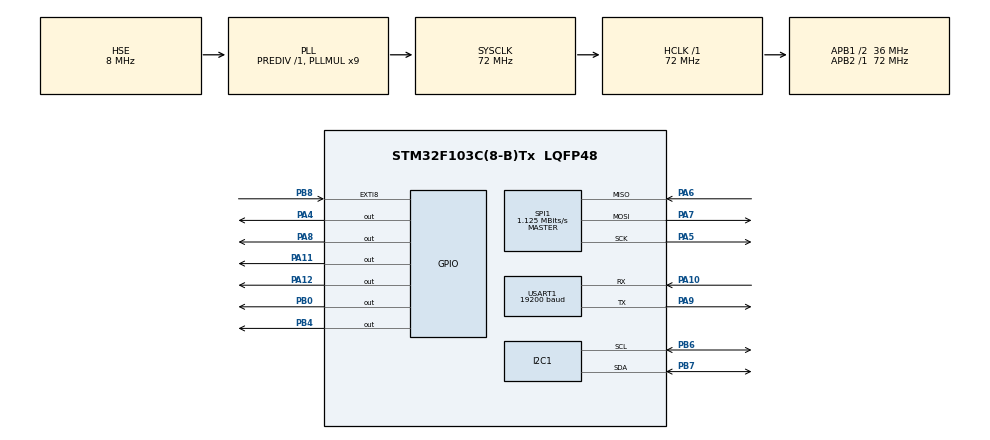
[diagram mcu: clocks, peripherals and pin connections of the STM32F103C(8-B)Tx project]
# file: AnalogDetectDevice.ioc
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I2C1.DualAddressMode=I2C_DUALADDRESS_DISABLE
I2C1.I2C_Mode=I2C_Fast
I2C1.OwnAddress=1
Mcu.Family=STM32F1
Mcu.Name=STM32F103C(8-B)Tx
Mcu.Package=LQFP48
NVIC.EXTI9_5_IRQn=true\:0\:0\:false\:false\:true\:true
NVIC.PriorityGroup=NVIC_PRIORITYGROUP_4
NVIC.TIM1_UP_IRQn=true\:0\:0\:false\:false\:true\:true
NVIC.USART1_IRQn=true\:0\:0\:false\:false\:true\:true
PA10.Mode=Asynchronous
PA10.Signal=USART1_RX
PA11.GPIO_Speed=GPIO_SPEED_FREQ_LOW
PA11.PinState=GPIO_PIN_SET
PA11.Signal=GPIO_Output
PA12.GPIO_Speed=GPIO_SPEED_FREQ_LOW
PA12.PinState=GPIO_PIN_SET
PA12.Signal=GPIO_Output
PA13.Mode=Serial_Wire
PA13.Signal=SYS_JTMS-SWDIO
PA14.Mode=Serial_Wire
PA14.Signal=SYS_JTCK-SWCLK
PA4.PinState=GPIO_PIN_RESET
PA4.Signal=GPIO_Output
PA5.Mode=Full_Duplex_Master
PA5.Signal=SPI1_SCK
PA6.Mode=Full_Duplex_Master
PA6.Signal=SPI1_MISO
PA7.Mode=Full_Duplex_Master
PA7.Signal=SPI1_MOSI
PA8.PinState=GPIO_PIN_RESET
PA8.Signal=GPIO_Output
PA9.Mode=Asynchronous
PA9.Signal=USART1_TX
PB0.PinState=GPIO_PIN_SET
PB0.Signal=GPIO_Output
PB4.PinState=GPIO_PIN_SET
PB4.Signal=GPIO_Output
PB6.Mode=I2C
PB6.Signal=I2C1_SCL
PB7.Mode=I2C
PB7.Signal=I2C1_SDA
PB8.GPIO_PuPd=GPIO_PULLUP
PB8.Signal=GPXTI8
PD0-OSC_IN.Mode=HSE-External-Oscillator
PD0-OSC_IN.Signal=RCC_OSC_IN
PD1-OSC_OUT.Mode=HSE-External-Oscillator
PD1-OSC_OUT.Signal=RCC_OSC_OUT
ProjectManager.HeapSize=0x200
ProjectManager.StackSize=0x400
ProjectManager.TargetToolchain=TrueSTUDIO
RCC.AHBFreq_Value=72000000
RCC.APB1CLKDivider=RCC_HCLK_DIV2
RCC.APB1Freq_Value=36000000
RCC.APB1TimFreq_Value=72000000
RCC.APB2Freq_Value=72000000
RCC.APB2TimFreq_Value=72000000
RCC.HCLKFreq_Value=72000000
RCC.PLLMUL=RCC_PLL_MUL9
RCC.PLLSourceVirtual=RCC_PLLSOURCE_HSE
RCC.SYSCLKFreq_VALUE=72000000
RCC.SYSCLKSource=RCC_SYSCLKSOURCE_PLLCLK
RCC.USBFreq_Value=72000000
SPI1.BaudRatePrescaler=SPI_BAUDRATEPRESCALER_64
SPI1.CLKPhase=SPI_PHASE_2EDGE
SPI1.CLKPolarity=SPI_POLARITY_HIGH
SPI1.CalculateBaudRate=1.125 MBits/s
SPI1.Direction=SPI_DIRECTION_2LINES
SPI1.Mode=SPI_MODE_MASTER
SPI1.VirtualType=VM_MASTER
TIM1.Period=2000
TIM1.Prescaler=72
USART1.BaudRate=19200
USART1.VirtualMode=VM_ASYNC
VP_TIM1_VS_ClockSourceINT.Mode=Internal
board=custom

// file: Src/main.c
/* USER CODE BEGIN Header */
/**
 ******************************************************************************
 * @file           : main.c
 * @brief          : Main program body
 ******************************************************************************
 ** This notice applies to any and all portions of this file
 * that are not between comment pairs USER CODE BEGIN and
 * USER CODE END. Other portions of this file, whether
 * inserted by the user or by software development tools
 * are owned by their respective copyright owners.
 *
 * COPYRIGHT(c) 2019 STMicroelectronics
 *
 * Redistribution and use in source and binary forms, with or without modification,
 * are permitted provided that the following conditions are met:
 *   1. Redistributions of source code must retain the above copyright notice,
 *      this list of conditions and the following disclaimer.
 *   2. Redistributions in binary form must reproduce the above copyright notice,
 *      this list of conditions and the following disclaimer in the documentation
 *      and/or other materials provided with the distribution.
 *   3. Neither the name of STMicroelectronics nor the names of its contributors
 *      may be used to endorse or promote products derived from this software
 *      without specific prior written permission.
 *
 * THIS SOFTWARE IS PROVIDED BY THE COPYRIGHT HOLDERS AND CONTRIBUTORS "AS IS"
 * AND ANY EXPRESS OR IMPLIED WARRANTIES, INCLUDING, BUT NOT LIMITED TO, THE
 * IMPLIED WARRANTIES OF MERCHANTABILITY AND FITNESS FOR A PARTICULAR PURPOSE ARE
 * DISCLAIMED. IN NO EVENT SHALL THE COPYRIGHT HOLDER OR CONTRIBUTORS BE LIABLE
 * FOR ANY DIRECT, INDIRECT, INCIDENTAL, SPECIAL, EXEMPLARY, OR CONSEQUENTIAL
 * DAMAGES (INCLUDING, BUT NOT LIMITED TO, PROCUREMENT OF SUBSTITUTE GOODS OR
 * SERVICES; LOSS OF USE, DATA, OR PROFITS; OR BUSINESS INTERRUPTION) HOWEVER
 * CAUSED AND ON ANY THEORY OF LIABILITY, WHETHER IN CONTRACT, STRICT LIABILITY,
 * OR TORT (INCLUDING NEGLIGENCE OR OTHERWISE) ARISING IN ANY WAY OUT OF THE USE
 * OF THIS SOFTWARE, EVEN IF ADVISED OF THE POSSIBILITY OF SUCH DAMAGE.
 *
 ******************************************************************************
 */
/* USER CODE END Header */

#include "main.h"
#include "i2c.h"
#include "spi.h"
#include "tim.h"
#include "usart.h"
#include "gpio.h"

/* USER CODE BEGIN Includes */
#include "iotobject.h"
#include "modbus_comm_services.h"
#include "ad717x.h"
#include "tca6408a.h"
#include "ch_manage.h"
#include "sys_param.h"
#include "iot_operate.h"
#include "light.h"
#include "general_delay.h"
/* USER CODE END Includes */

void SystemClock_Config(void);
/* USER CODE BEGIN PFP */
#ifdef DEBUG
void IoT_SetLongAddr(void);
#endif

void UART_485TxEn(void);
void UART_485RxEn(void);
void IoT_SetProp(iot_object_t *sensor);
/* USER CODE END PFP */

/* USER CODE BEGIN 0 */
modbus_comm_services_t * comm_service;
uint8_t comm_indicate_flag = 0; //通信指示标志：1表示接收数据解析失败，2表示接收数据解析成功
/* USER CODE END 0 */

int main(void) {
	/* USER CODE BEGIN 1 */
	delay_nms(20);
	/* USER CODE END 1 */

	/* MCU Configuration--------------------------------------------------------*/

	/* Reset of all peripherals, Initializes the Flash interface and the Systick. */
	HAL_Init();

	/* Configure the system clock */
	SystemClock_Config();

	/* Initialize all configured peripherals */
	MX_GPIO_Init();
	MX_TIM1_Init();
	MX_SPI1_Init();
	MX_USART1_UART_Init();
	MX_I2C1_Init();
	/* USER CODE BEGIN 2 */
	//Config this smart sensor
#ifdef DEBUG
	IoT_SetLongAddr();
#endif

	/* 设备指示灯初始化  */
	light_ctrl_t *light_ctrl;
	light_ctrl = Light_Init();

	iot_object_t *mySensor = createSensorHandler();
	IoT_SetProp(mySensor);
	//初始化所有属性的起始id位置，以及load flash中的掉电保护属性值
	mySensor->init();

	/* 创建串口通信服务 */
	comm_service = createModbusCommServiceHandler(UART_485TxEn, UART_485RxEn);
	comm_service->setSensorHandler(mySensor);

	/* 初始化系统参数 */
	sys_param_t *sys_param;
	sys_param = Sys_ParamInit();

	/* 初始化TCA设备用于通道供电与切换操作 */
	TCA6408_Typedef* tca6408;
	tca6408 = TCA6408_GPIOInit();

	/* 通道供电初始化，用与切换供电类型12V或者24V */
	ch_supply_t *ch_supply;
	ch_supply = Ch_SupplyInit(&tca6408->dev1, sys_param);

	/* 通道电路初始化，用于切换通道电流电压 */
	ch_circuit_t *ch_circuit;
	ch_circuit = Ch_CircuitInit(&tca6408->dev2, sys_param);

	/* 通道传感器检测功能初始化 */
	ch_sensor_t *ch_sensor;
	ch_sensor = Ch_SensorDetInit(&tca6408->dev2);

	/* 创建ADC设备并初始化ADC */
	ad717x_dev *ad_dev;
	ad_dev = AD717X_CreatAdcDev(sys_param);
	ad_dev->sensor = mySensor;
	ad_dev->adcInit();

	/* 物联网协议属性初始化  */
	IoT_dev_t *iot_dev;
	iot_dev = IoT_Init(sys_param, ch_supply, ch_circuit, mySensor, ad_dev);

	/* 自检完成信号灯闪烁 */
	light_ctrl->green_flash_freq = 1000;

	/* 使能串口接收功能  */
	HAL_UART_Receive_IT(&huart1, comm_service->_rx_temp_buf, 1);

	/* USER CODE END 2 */

	/* Infinite loop */
	while (1) {

		/* USER CODE BEGIN 3 */
		//查看是否收到完整一帧命令，处理通讯
		comm_service->parseMasterMsg(&huart1);

		/* ADC通道数据循环采样，处理并保存每个通道的采样数据  */
		ad_dev->dataSample();

		/* 处理物联网协议属性  */
		iot_dev->operate();

		/* check whether permant props have been modified,
		   if so, save them to the flash */
		mySensor->saveProp2Flash();

		/* 当设备参数发送改变后存储参数到FLASH */
		sys_param->saveParamToFlash();

		/* 设备指示灯控制  */
		light_ctrl->lightControl();

		/* 传感器检测处理  */
		ch_sensor->dectect();
	}

	/* USER CODE END 3 */
}

void SystemClock_Config(void) {
	RCC_OscInitTypeDef RCC_OscInitStruct = { 0 };
	RCC_ClkInitTypeDef RCC_ClkInitStruct = { 0 };

	/**Initializes the CPU, AHB and APB busses clocks
	 */
	RCC_OscInitStruct.OscillatorType = RCC_OSCILLATORTYPE_HSE;
	RCC_OscInitStruct.HSEState = RCC_HSE_ON;
	RCC_OscInitStruct.HSEPredivValue = RCC_HSE_PREDIV_DIV1;
	RCC_OscInitStruct.HSIState = RCC_HSI_ON;
	RCC_OscInitStruct.PLL.PLLState = RCC_PLL_ON;
	RCC_OscInitStruct.PLL.PLLSource = RCC_PLLSOURCE_HSE;
	RCC_OscInitStruct.PLL.PLLMUL = RCC_PLL_MUL9;
	if (HAL_RCC_OscConfig(&RCC_OscInitStruct) != HAL_OK) {
		Error_Handler();
	}
	/**Initializes the CPU, AHB and APB busses clocks
	 */
	RCC_ClkInitStruct.ClockType = RCC_CLOCKTYPE_HCLK | RCC_CLOCKTYPE_SYSCLK
			| RCC_CLOCKTYPE_PCLK1 | RCC_CLOCKTYPE_PCLK2;
	RCC_ClkInitStruct.SYSCLKSource = RCC_SYSCLKSOURCE_PLLCLK;
	RCC_ClkInitStruct.AHBCLKDivider = RCC_SYSCLK_DIV1;
	RCC_ClkInitStruct.APB1CLKDivider = RCC_HCLK_DIV2;
	RCC_ClkInitStruct.APB2CLKDivider = RCC_HCLK_DIV1;

	if (HAL_RCC_ClockConfig(&RCC_ClkInitStruct, FLASH_LATENCY_2) != HAL_OK) {
		Error_Handler();
	}
}

/* USER CODE BEGIN 4 */
#ifdef DEBUG
#include "flash.h"
void IoT_SetLongAddr(void)
{
	uint8_t long_addr[] = {0X77, 0X01, 0X20, 0X19, 0X04, 0X19, 0X00, 0X01};

	flash_write(LONG_ADDR_FLASH_PAGE_ADDR, (uint32_t *)long_addr, sizeof(long_addr));
}
#endif

/**
 * @brief  串口通信回调函数
 * @param  UartHandle: 指向UART_HandleTypeDef结构的句柄
 * @retval None
 */
void HAL_UART_RxCpltCallback(UART_HandleTypeDef *UartHandle) {
	comm_service->uartRxCpltCallBack(&huart1, &htim1);
}

/**
 * @brief  定时器回调函数
 *         2ms 定时器，用于判断一帧是否结束（19200bits/s情况下，1byte大概需要0.5ms，4个字节就是2ms
 *         即如果大概3ms还没有新数据过来，那么认为这一帧结束了
 * @param  htim: 指向TIM_HandleTypeDef结构的句柄
 * @retval None
 */
void HAL_TIM_PeriodElapsedCallback(TIM_HandleTypeDef *htim) {
	//是timer1中断
	if (htim->Instance == htim1.Instance) {
		comm_service->setFrameFinishFlag();
		HAL_TIM_Base_Stop_IT(&htim1);
	}
}

void HAL_GPIO_EXTI_Callback(uint16_t GPIO_Pin) {
	if (GPIO_Pin == GPIO_PIN_8) {
		;
	}
}

/**
 * @brief  使能485发送接口
 * @param  None
 * @retval None
 */
void UART_485TxEn(void) {
	HAL_GPIO_WritePin(GPIOA, GPIO_PIN_8, GPIO_PIN_SET);
}

/**
 * @brief  使能485接收接口
 * @param  None
 * @retval None
 */
void UART_485RxEn(void) {
	HAL_GPIO_WritePin(GPIOA, GPIO_PIN_8, GPIO_PIN_RESET);
}

/**
 * @brief  初始化物联网协议属性长度
 * @param  sensor: 指向iot_object_t结构的句柄
 * @retval None
 */
void IoT_SetProp(iot_object_t *sensor) {
	//init addr, long addr, short addr are fixed. No need to set
	sensor->setPropCount(47);
	sensor->setPropLen(CHL_ENABLE_ID, 1);
	sensor->setPropLen(CHL_ERROR_ID, 1);
	sensor->setPropLen(BATTERY_LEVEL_ID, 1);

	for (int32_t i = 0; i < 8; i++) {
		sensor->setPropLen(CHL_TYPE_ID(i), 1);
		sensor->setPropLen(CHL_VOLT_TYPE_ID(i), 1);
		sensor->setPropLen(CHL_DELAY_ID(i), 1);
		sensor->setPropLen(CHL_VALUE_ID(i), 4);
		sensor->setPropLen(CHL_CALI_ID(i), 1);
	}

	sensor->setPropLen(DEV_WR_PROT_ID, 4);
}
/* USER CODE END 4 */

void Error_Handler(void) {
}

/************************ (C) COPYRIGHT STMicroelectronics *****END OF FILE****/
